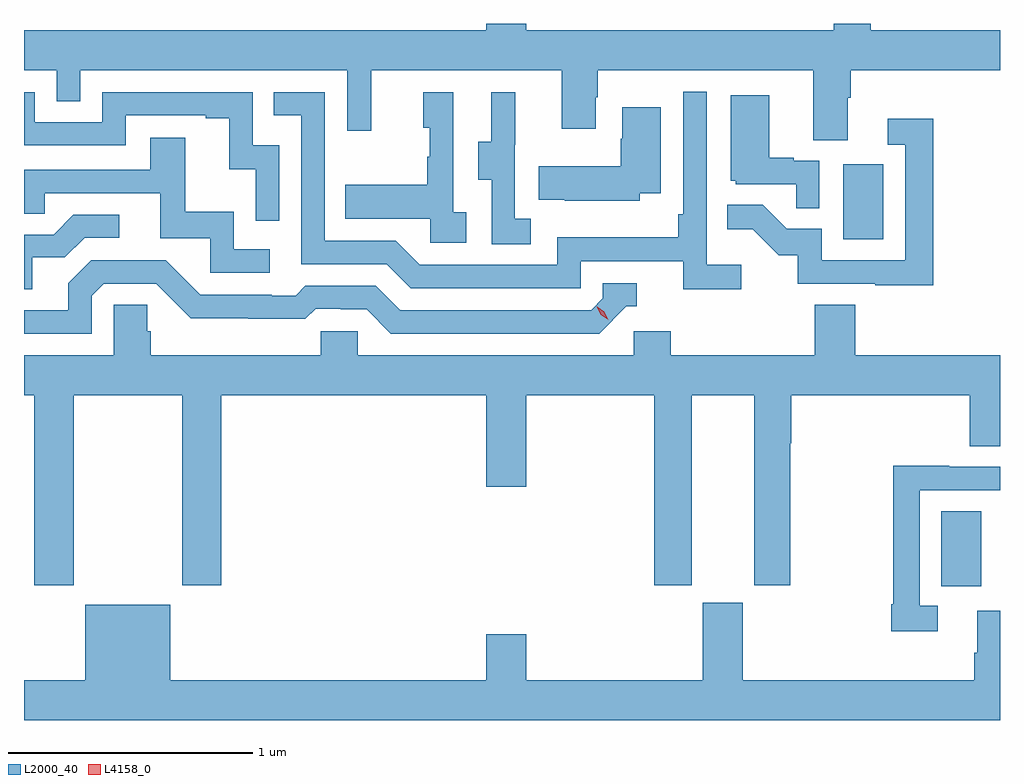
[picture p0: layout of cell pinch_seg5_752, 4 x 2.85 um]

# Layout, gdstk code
import gdstk
lib = gdstk.Library(unit=1e-6, precision=1e-09)
def R(c, l, rs):  # rectangles x0, y0, x1, y1
    for r in rs: c.add(gdstk.rectangle(r[:2], r[2:], *l))
def P(c, l, *ps):  # polygons
    for p in ps: c.add(gdstk.Polygon(p, *l))
L2000_40 = (2000, 40)
L4158_0 = (4158, 0)

pinch_seg5_752 = lib.new_cell('pinch_seg5_752')
R(pinch_seg5_752, L2000_40, [(850.19,910.59,850.354,910.897), (849.788,912.012,849.952,912.319)])
P(pinch_seg5_752, L2000_40, [(849.805,912.592),(849.818,912.592),(849.818,912.704),(850.43,912.704),(850.43,912.868),(849.901,912.868),(849.901,912.895),(849.749,912.895),(849.749,912.868),(848.488,912.868),(848.488,912.895),(848.324,912.895),(848.324,912.868),(846.43,912.868),(846.43,912.704),(846.564,912.704),(846.564,912.577),(846.66,912.577),(846.66,912.704),(847.755,912.704),(847.755,912.456),(847.853,912.456),(847.853,912.704),(848.633,912.704),(848.633,912.465),(848.773,912.465),(848.773,912.593),(848.781,912.593),(848.781,912.704),(849.665,912.704),(849.665,912.418),(849.805,912.418)],
  [(849.37,911.908),(849.228,911.908),(849.228,912.616),(849.132,912.616),(849.132,912.115),(849.112,912.115),(849.112,912.019),(848.616,912.019),(848.616,911.907),(848.052,911.907),(847.953,912.006),(847.662,912.006),(847.662,912.615),(847.453,912.615),(847.453,912.519),(847.566,912.519),(847.566,911.91),(847.916,911.91),(848.015,911.811),(848.712,911.811),(848.712,911.922),(849.131,911.922),(849.131,911.806),(849.37,911.806)],
  [(847.476,912.396),(847.368,912.396),(847.368,912.615),(846.75,912.615),(846.75,912.492),(846.474,912.492),(846.474,912.615),(846.43,912.615),(846.43,912.396),(846.846,912.396),(846.846,912.519),(847.175,912.519),(847.175,912.507),(847.271,912.507),(847.271,912.299),(847.38,912.299),(847.38,912.087),(847.476,912.087)],
  [(848.242,912.122),(848.19,912.122),(848.19,912.613),(848.066,912.613),(848.066,912.468),(848.092,912.468),(848.092,912.35),(848.082,912.35),(848.082,912.235),(847.747,912.235),(847.747,912.095),(848.094,912.095),(848.094,911.997),(848.242,911.997)],
  [(848.506,912.095),(848.442,912.095),(848.442,912.399),(848.444,912.399),(848.444,912.613),(848.345,912.613),(848.345,912.411),(848.291,912.411),(848.291,912.256),(848.346,912.256),(848.346,911.992),(848.506,911.992)],
  [(849.69,912.333),(849.584,912.333),(849.584,912.346),(849.484,912.346),(849.484,912.601),(849.326,912.601),(849.326,912.252),(849.348,912.252),(849.348,912.237),(849.595,912.237),(849.595,912.139),(849.69,912.139)],
  [(848.953,912.2),(849.04,912.2),(849.04,912.553),(848.882,912.553),(848.882,912.423),(848.875,912.423),(848.875,912.31),(848.539,912.31),(848.539,912.173),(848.647,912.173),(848.647,912.17),(848.953,912.17)],
  [(850.157,912.505),(849.969,912.505),(849.969,912.399),(850.041,912.399),(850.041,911.925),(849.699,911.925),(849.699,912.054),(849.555,912.054),(849.457,912.152),(849.313,912.152),(849.313,912.053),(849.417,912.053),(849.524,911.946),(849.601,911.946),(849.601,911.829),(849.919,911.829),(849.919,911.824),(850.157,911.824)],
  [(847.438,911.97),(847.29,911.97),(847.29,912.124),(847.091,912.124),(847.091,912.427),(846.947,912.427),(846.947,912.297),(846.43,912.297),(846.43,912.117),(846.515,912.117),(846.515,912.201),(846.989,912.201),(846.989,912.015),(847.194,912.015),(847.194,911.874),(847.438,911.874)],
  [(846.463,911.938),(846.598,911.938),(846.678,912.018),(846.82,912.018),(846.82,912.111),(846.632,912.111),(846.551,912.03),(846.43,912.03),(846.43,911.806),(846.463,911.806)],
  [(846.708,911.781),(846.756,911.829),(846.972,911.829),(847.114,911.687),(847.35,911.687),(847.35,911.685),(847.583,911.685),(847.625,911.727),(847.728,911.727),(847.728,911.724),(847.835,911.724),(847.934,911.625),(848.787,911.625),(848.898,911.736),(848.941,911.736),(848.941,911.832),(848.802,911.832),(848.802,911.769),(848.754,911.721),(847.971,911.721),(847.872,911.82),(847.583,911.82),(847.544,911.781),(847.445,911.781),(847.445,911.784),(847.152,911.784),(847.011,911.925),(846.705,911.925),(846.611,911.831),(846.611,911.721),(846.43,911.721),(846.43,911.625),(846.708,911.625)],
  [(847.078,910.593),(847.238,910.593),(847.238,911.372),(848.324,911.372),(848.324,910.998),(848.488,910.998),(848.488,911.372),(849.014,911.372),(849.014,910.593),(849.166,910.593),(849.166,911.372),(849.422,911.372),(849.422,910.593),(849.57,910.593),(849.57,911.176),(849.575,911.176),(849.575,911.372),(850.307,911.372),(850.307,911.164),(850.43,911.164),(850.43,911.536),(849.836,911.536),(849.836,911.744),(849.671,911.744),(849.671,911.536),(849.08,911.536),(849.08,911.634),(848.928,911.634),(848.928,911.536),(847.797,911.536),(847.797,911.634),(847.647,911.634),(847.647,911.536),(846.95,911.536),(846.95,911.634),(846.935,911.634),(846.935,911.744),(846.798,911.744),(846.798,911.536),(846.43,911.536),(846.43,911.372),(846.473,911.372),(846.473,910.593),(846.633,910.593),(846.633,911.372),(847.078,911.372)],
  [(850.174,910.509),(850.101,910.509),(850.101,910.983),(850.43,910.983),(850.43,911.079),(850.223,911.079),(850.223,911.084),(849.993,911.084),(849.993,910.516),(849.985,910.516),(849.985,910.404),(850.174,910.404)],
  [(850.43,910.49),(850.337,910.49),(850.337,910.316),(850.325,910.316),(850.325,910.204),(849.376,910.204),(849.376,910.521),(849.212,910.521),(849.212,910.204),(848.488,910.204),(848.488,910.393),(848.324,910.393),(848.324,910.204),(847.03,910.204),(847.03,910.513),(846.68,910.513),(846.68,910.204),(846.43,910.204),(846.43,910.04),(850.43,910.04)])
P(pinch_seg5_752, L4158_0, [(848.824,911.682),(848.794,911.702),(848.778,911.735),(848.778,911.735),(848.779,911.735),(848.809,911.715),(848.824,911.682),(848.824,911.682)])

lib.write_gds('pinch_seg5_752.gds')
